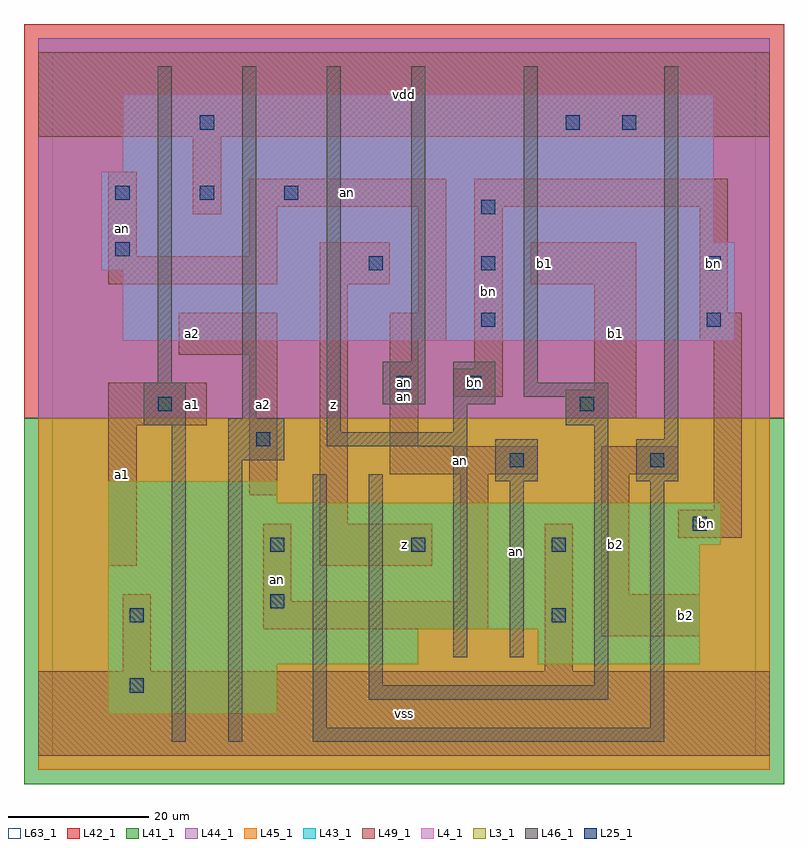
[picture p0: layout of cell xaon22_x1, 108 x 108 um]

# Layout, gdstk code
import gdstk
lib = gdstk.Library(unit=1e-6, precision=1e-09)
def R(c, l, rs):  # rectangles x0, y0, x1, y1
    for r in rs: c.add(gdstk.rectangle(r[:2], r[2:], *l))
def A(c, l, x, y, w, h, nx, ny, dx, dy):  # array of equal rectangles
    R(c, l, [(x+i*dx, y+j*dy, x+i*dx+w, y+j*dy+h) for i in range(nx) for j in range(ny)])
L3_1 = (3, 1)
L4_1 = (4, 1)
L25_1 = (25, 1)
L41_1 = (41, 1)
L42_1 = (42, 1)
L43_1 = (43, 1)
L44_1 = (44, 1)
L45_1 = (45, 1)
L46_1 = (46, 1)
L49_1 = (49, 1)
L63_1 = (63, 1)

xaon22_x1 = lib.new_cell('xaon22_x1')
R(xaon22_x1, L3_1, [(8,6,32,13), (8,13,52,18), (69,13,92,18), (8,18,92,30), (8,30,95,36), (8,36,32,39)])
R(xaon22_x1, L4_1, [(10,59,97,69), (7,69,97,73), (7,73,94,83), (10,83,94,94)])
A(xaon22_x1, L25_1, 31, 29, 2, 2, 3, 1, 20, 0)
A(xaon22_x1, L25_1, 61, 61, 2, 2, 1, 3, 0, 8)
A(xaon22_x1, L25_1, 9, 79, 2, 2, 3, 1, 12, 0)
R(xaon22_x1, L25_1, [(11,9,13,11), (11,19,13,21), (71,19,73,21), (31,21,33,23), (91,32,93,34), (65,41,67,43), (85,41,87,43), (29,44,31,46), (15,49,17,51), (75,49,77,51), (49,52,51,54), (59,52,61,54), (93,61,95,63), (45,69,47,71), (93,69,95,71), (9,71,11,73), (21,89,23,91), (73,89,75,91), (81,89,83,91)])
R(xaon22_x1, L41_1, [(-4,-4,104,48)])
R(xaon22_x1, L42_1, [(-4,48,104,104)])
R(xaon22_x1, L43_1, [(8,6,32,13), (8,13,52,18), (69,13,92,18), (8,18,92,30), (8,30,95,36), (8,36,32,39), (10,59,97,69), (7,69,97,73), (7,73,94,83), (10,83,94,94)])
R(xaon22_x1, L44_1, [(-2,48,102,102)])
R(xaon22_x1, L45_1, [(-2,-2,102,48)])
R(xaon22_x1, L46_1, [(17,2,19,47), (25,2,27,42), (37,2,87,4), (37,4,39,40), (85,4,87,39), (45,8,79,10), (45,10,47,40), (77,10,79,47), (57,14,59,44), (65,14,67,39), (63,39,69,45), (83,39,89,45), (25,42,33,48), (39,44,59,46), (87,45,89,98), (39,46,41,98), (57,46,59,50), (13,47,19,53), (73,47,79,51), (27,48,29,98), (47,50,53,56), (57,50,63,56), (67,51,79,53), (15,53,17,98), (67,53,69,98), (51,56,53,98)])
R(xaon22_x1, L49_1, [(-2,0,102,12), (10,12,14,23), (70,12,74,33), (78,17,92,23), (30,18,62,22), (30,22,34,33), (58,22,62,40), (78,23,82,40), (8,27,12,47), (38,27,54,33), (89,31,98,35), (38,33,42,67), (94,35,98,59), (28,37,32,57), (48,40,69,44), (78,40,89,44), (48,44,52,59), (8,47,22,53), (73,48,83,52), (57,51,64,55), (77,52,83,67), (60,55,64,78), (18,57,32,63), (48,59,56,63), (92,59,98,63), (52,63,56,78), (92,63,96,78), (8,67,32,71), (38,67,48,73), (68,67,83,73), (8,71,12,83), (28,71,32,78), (20,77,24,88), (28,78,56,82), (60,78,96,82), (-2,88,102,100)])
R(xaon22_x1, L63_1, [(0,0,100,100)])
xaon22_x1.add(gdstk.Label('an', (66,29), layer=46, texttype=1))
xaon22_x1.add(gdstk.Label('bn', (60,53), layer=49, texttype=1))
xaon22_x1.add(gdstk.Label('an', (50,53), layer=49, texttype=1))
xaon22_x1.add(gdstk.Label('a1', (10,40), layer=49, texttype=1))
xaon22_x1.add(gdstk.Label('an', (10,75), layer=49, texttype=1))
xaon22_x1.add(gdstk.Label('an', (32,25), layer=49, texttype=1))
xaon22_x1.add(gdstk.Label('a1', (20,50), layer=49, texttype=1))
xaon22_x1.add(gdstk.Label('a2', (30,50), layer=49, texttype=1))
xaon22_x1.add(gdstk.Label('a2', (20,60), layer=49, texttype=1))
xaon22_x1.add(gdstk.Label('vss', (50,6), layer=49, texttype=1))
xaon22_x1.add(gdstk.Label('z', (50,30), layer=49, texttype=1))
xaon22_x1.add(gdstk.Label('z', (40,50), layer=49, texttype=1))
xaon22_x1.add(gdstk.Label('an', (50,51), layer=49, texttype=1))
xaon22_x1.add(gdstk.Label('an', (42,80), layer=49, texttype=1))
xaon22_x1.add(gdstk.Label('vdd', (50,94), layer=49, texttype=1))
xaon22_x1.add(gdstk.Label('an', (58,42), layer=49, texttype=1))
xaon22_x1.add(gdstk.Label('bn', (60,53), layer=49, texttype=1))
xaon22_x1.add(gdstk.Label('b1', (70,70), layer=49, texttype=1))
xaon22_x1.add(gdstk.Label('bn', (62,66), layer=49, texttype=1))
xaon22_x1.add(gdstk.Label('b2', (90,20), layer=49, texttype=1))
xaon22_x1.add(gdstk.Label('b2', (80,30), layer=49, texttype=1))
xaon22_x1.add(gdstk.Label('bn', (93,33), layer=49, texttype=1))
xaon22_x1.add(gdstk.Label('b1', (80,60), layer=49, texttype=1))
xaon22_x1.add(gdstk.Label('bn', (94,70), layer=49, texttype=1))

lib.write_gds('xaon22_x1.gds')
